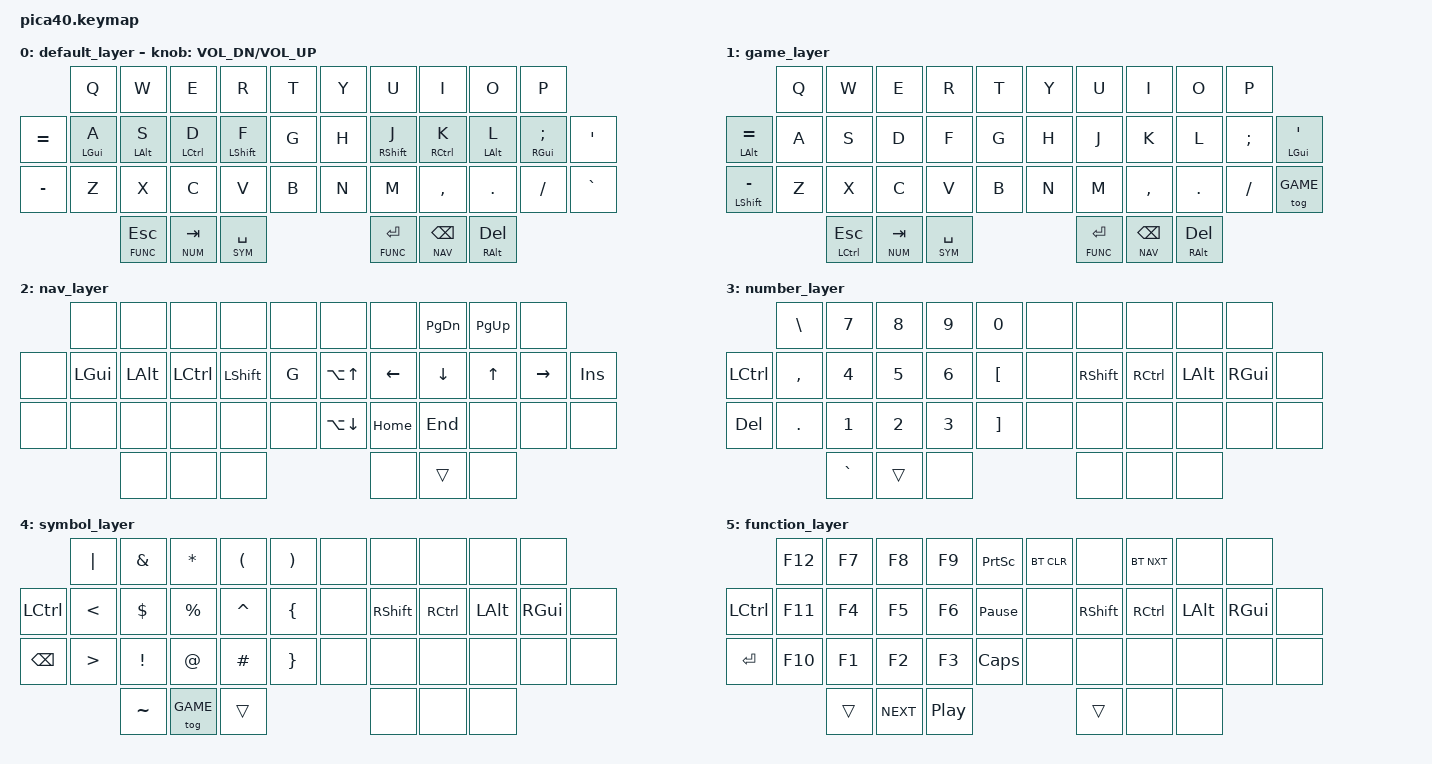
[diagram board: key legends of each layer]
#include <behaviors.dtsi>
#include <dt-bindings/zmk/keys.h>
#include <dt-bindings/zmk/bt.h>
#include <dt-bindings/zmk/outputs.h>

#define QWERTY 0
#define GAME 1
#define NAV 2
#define NUM 3
#define SYM 4
#define FUNC 5


//new
/* windows */
#define wBAS  0
#define wDEV  1
#define wAXN  2
#define wFNK  3
#define wSTG  4

/* Helpers */
#define H_wCWR  F18
#define F_wBAS  F19
#define F_wDEV  F20
#define F_wAXN  F21
#define F_wFNK  F22
#define F_wSTG  F23


&mt {
    tapping-term-ms = <160>;
    flavor = "tap-preferred";
};

&lt {
    tapping-term-ms = <160>;
    flavor = "tap-preferred";
};

/ {

    behaviors {
        hm: homerow_mods {
            compatible = "zmk,behavior-hold-tap";
            label = "HOMEROW_MODS";
            #binding-cells = <2>;
            tapping-term-ms = <160>;
            quick-tap-ms = <0>;
            flavor = "tap-preferred";
            bindings = <&kp>, <&kp>;
        };
        hr: homerow_mods_ring_finger {
            compatible = "zmk,behavior-hold-tap";
            label = "HOMEROW_MODS_RING_FINGER";
            #binding-cells = <2>;
            tapping-term-ms = <190>;
            quick-tap-ms = <0>;
            flavor = "tap-preferred";
            bindings = <&kp>, <&kp>;
        };
        hp: homerow_mods_pinky_finger {
            compatible = "zmk,behavior-hold-tap";
            label = "HOMEROW_MODS_PINKY_FINGER";
            #binding-cells = <2>;
            tapping-term-ms = <220>;
            quick-tap-ms = <0>;
            flavor = "tap-preferred";
            bindings = <&kp>, <&kp>;
        };
        tm: thumb_mods {
            compatible = "zmk,behavior-hold-tap";
            label = "THUMB_MODS";
            #binding-cells = <2>;
            tapping-term-ms = <160>;
            quick-tap-ms = <160>;
            flavor = "tap-preferred";
            bindings = <&kp>, <&kp>;
        };
        lh: layer_hold {
            compatible = "zmk,behavior-hold-tap";
            label = "LAYER_HOLD";
            #binding-cells = <2>;
            tapping-term-ms = <160>;
            quick-tap-ms = <160>;
            flavor = "tap-preferred";
            bindings = <&mo>, <&kp>;
        };

        // Easy alt-tab with alt+backspace thumb using mod-morphs
        bstab: backspace_tab {
            compatible = "zmk,behavior-mod-morph";
            label = "BSPC_TAB";
            #binding-cells = <0>;
            bindings = <&kp BSPC>, <&kp TAB>;
            mods = <MOD_LALT>;
        };
        lt_bspc: layer_tap_backspace_tab {
            compatible = "zmk,behavior-hold-tap";
            label = "LT_BT";
            #binding-cells = <2>;
            tapping-term-ms = <150>;
            flavor = "balanced";
            bindings = <&mo>, <&bstab>;
        };
    };

    combos {
        compatible = "zmk,combos";

        //new
        combo_windows_help-wBAS {
                bindings = <&kp LC(LA(LS(F_wBAS)))>;
                key-positions = <13 22>;
                slow-release;
                layers = <wBAS>;
        };

        combo_windows_help-wDEV {
                bindings = <&kp LC(LA(LS(F_wDEV)))>;
                key-positions = <13 22>;
                slow-release;
                layers = <wDEV>;
        };

        combo_windows_help-wAXN {
                bindings = <&kp LC(LA(LS(F_wAXN)))>;
                key-positions = <13 22>;
                slow-release;
                layers = <wAXN>;
        };

        combo_windows_help-wFNK {
                bindings = <&kp LC(LA(LS(F_wFNK)))>;
                key-positions = <13 22>;
                slow-release;
                layers = <wFNK>;
        };

        combo_windows_help-wSTG {
                bindings = <&kp LC(LA(LS(F_wSTG)))>;
                key-positions = <13 22>;
                slow-release;
                layers = <wSTG>;
        };

        combo_caps {
            timeout-ms = <50>;
            key-positions = <14 17>;
            layers = <0>;
            bindings = <&caps_word>;
        };

    };

    keymap {
        compatible = "zmk,keymap";

        default_layer {
            bindings = <
                           &kp Q       &kp W       &kp E        &kp R        &kp T        &kp Y  &kp U        &kp I        &kp O       &kp P
                &kp EQUAL  &hp LGUI A  &hr LALT S  &hm LCTRL D  &hm LSHFT F  &kp G        &kp H  &hm RSHFT J  &hm RCTRL K  &hr LALT L  &hp RGUI SEMI  &kp SQT
                &kp MINUS  &kp Z       &kp X       &kp C        &kp V        &kp B        &kp N  &kp M        &kp COMMA    &kp DOT     &kp FSLH       &kp GRAVE
                                            &lt FUNC ESC  &lt NUM TAB  &lh SYM SPACE    &lt FUNC ENTER  &lh NAV BSPC  &tm RALT DEL
                >;

            sensor-bindings = <&inc_dec_kp C_VOL_DN C_VOL_UP>;
        };

        game_layer {
            bindings = <
                                 &kp Q   &kp W  &kp E  &kp R  &kp T        &kp Y  &kp U  &kp I      &kp O    &kp P
                &hm LALT EQUAL   &kp A   &kp S  &kp D  &kp F  &kp G        &kp H  &kp J  &kp K      &kp L    &kp SEMI  &hm LGUI SQT
                &hm LSHFT MINUS  &kp Z   &kp X  &kp C  &kp V  &kp B        &kp N  &kp M  &kp COMMA  &kp DOT  &kp FSLH  &tog GAME
                            &hm LCTRL ESC  &lt NUM TAB  &lh SYM SPACE    &lt FUNC ENTER  &lh NAV BSPC  &tm RALT DEL
                >;
        };

        nav_layer {
            bindings = <
                       &none     &none     &none      &none      &none        &none         &none     &kp PG_DN  &kp PG_UP  &none
                &none  &kp LGUI  &kp LALT  &kp LCTRL  &kp LSHFT  &kp G        &kp LA(UP)    &kp LEFT  &kp DOWN   &kp UP     &kp RIGHT  &kp INS
                &none  &none     &none     &none      &none      &none        &kp LA(DOWN)  &kp HOME  &kp END    &none      &none      &none
                                                     &none  &none  &none    &none  &trans  &none
                >;
        };

        number_layer {
            bindings = <
                           &kp BSLH   &kp N7  &kp N8  &kp N9  &kp N0          &none  &none      &none      &none     &none
                &kp LCTRL  &kp COMMA  &kp N4  &kp N5  &kp N6  &kp LBKT        &none  &kp RSHFT  &kp RCTRL  &kp LALT  &kp RGUI  &none
                &kp DEL    &kp DOT    &kp N1  &kp N2  &kp N3  &kp RBKT        &none  &none      &none      &none     &none     &none
                                                &kp GRAVE  &trans  &none    &none  &none  &none
                >;
        };

        symbol_layer {
            bindings = <
                           &kp PIPE  &kp AMPS  &kp STAR   &kp LPAR   &kp RPAR        &none  &none      &none      &none     &none
                &kp LCTRL  &kp LT    &kp DLLR  &kp PRCNT  &kp CARET  &kp LBRC        &none  &kp RSHFT  &kp RCTRL  &kp LALT  &kp RGUI  &none
                &kp BSPC   &kp GT    &kp EXCL  &kp AT     &kp HASH   &kp RBRC        &none  &none      &none      &none     &none     &none
                                                   &kp TILDE  &tog GAME  &trans    &none  &none  &none
                >;
        };

        function_layer {
            bindings = <
                           &kp F12  &kp F7  &kp F8  &kp F9  &kp PSCRN              &bt BT_CLR  &none      &bt BT_NXT  &none     &none
                &kp LCTRL  &kp F11  &kp F4  &kp F5  &kp F6  &kp PAUSE_BREAK        &none       &kp RSHFT  &kp RCTRL   &kp LALT  &kp RGUI  &none
                &kp ENTER  &kp F10  &kp F1  &kp F2  &kp F3  &kp CAPS               &none       &none      &none       &none     &none     &none
                                                 &trans  &kp C_NEXT  &kp C_PP    &trans  &none  &none
                >;
        };

    };
};
